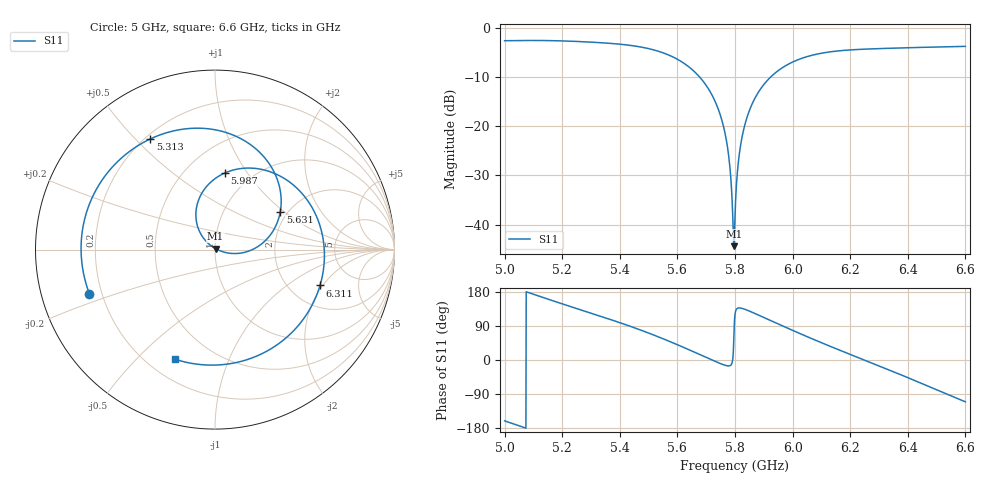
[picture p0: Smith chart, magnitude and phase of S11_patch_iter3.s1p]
! openEMS
# GHZ S MA R 50
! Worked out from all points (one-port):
!   1601 points, 5 GHz to 6.6 GHz, reference 50 ohm
!   lowest |S11| = -44.4 dB at 5.796 GHz (marker M1), VSWR 1.01, Z = 50.3 + j0.528 ohm
!   |S11| at or under -10 dB: 5.678 GHz to 5.923 GHz (245.8 MHz wide, 4.24 % of centre)
!   S11 on the Smith chart (normalised r, x): 5 GHz: 0.15, -0.17; 5.313 GHz: 0.22, +0.55; 5.631 GHz: 1.83, +0.94; 5.987 GHz: 0.76, +0.80; 6.311 GHz: 2.92, -1.88; 6.6 GHz: 0.31, -0.65
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5  0.742 -160.6
5.099  0.7465 173.8
5.2  0.7386 148.1
5.313  0.7142 120.3
5.4  0.684 98.5
5.495  0.6214 72.6
5.6  0.4805 40.3
5.631  0.4207 30.1
5.701  0.2579 6.4
5.749  0.13 -9.4
5.775  0.05844 -15.5
5.783  0.03648 -14.8
5.791  0.01511 -3.7
5.796  0.006039 60.4
5.8  0.0125 120.6
5.81  0.0388 136.9
5.818  0.06036 137.2
5.831  0.09511 134.6
5.849  0.1422 129.3
5.904  0.2747 110.9
5.987  0.431 82.6
6  0.4502 78.2
6.09  0.5463 48.8
6.2  0.5981 14.8
6.311  0.6183 -18.8
6.4  0.6296 -46.5
6.501  0.6402 -78.9
6.6  0.6501 -110.3
